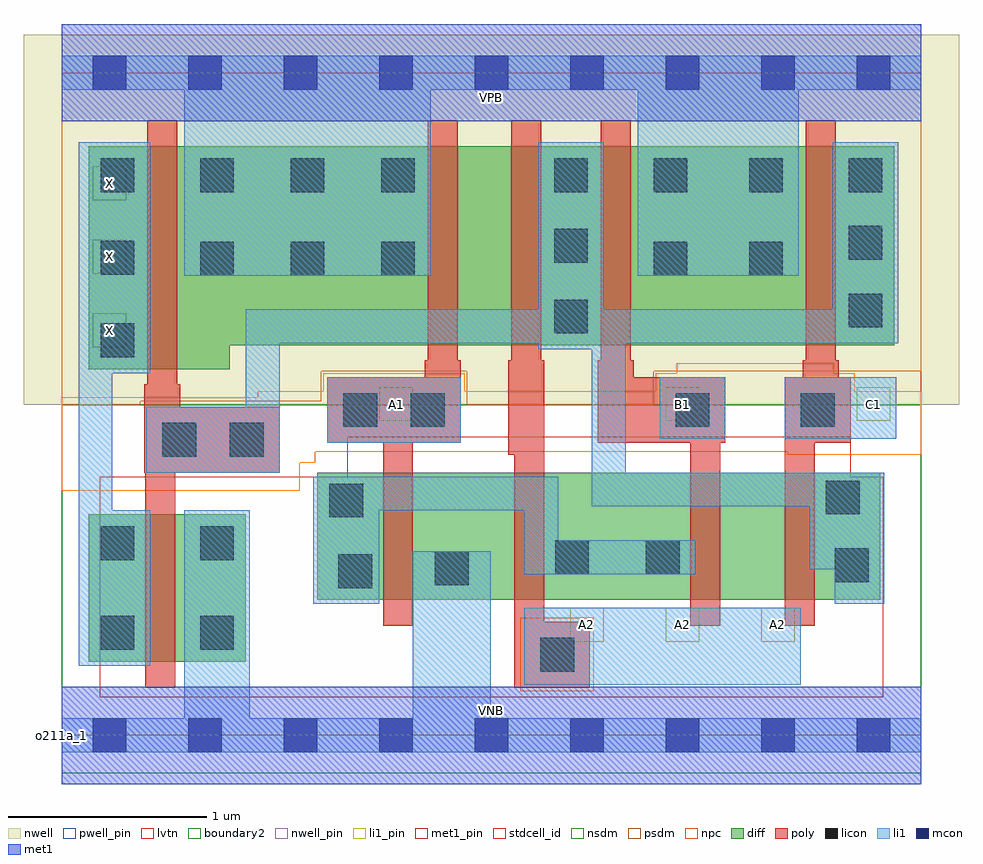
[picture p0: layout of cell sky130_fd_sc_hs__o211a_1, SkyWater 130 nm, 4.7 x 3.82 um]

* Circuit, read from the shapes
.subckt sky130_fd_sc_hs__o211a_1 A1 A2 B1 C1 VGND VNB VPB VPWR X
XM1 VGND n1 X VNB sky130_fd_pr__nfet_01v8_lvt w=0.74 l=0.15
XM2 VGND A1 n2 VNB sky130_fd_pr__nfet_01v8_lvt w=0.64 l=0.15
XM3 n2 A2 VGND VNB sky130_fd_pr__nfet_01v8_lvt w=0.64 l=0.15
XM4 n3 B1 n2 VNB sky130_fd_pr__nfet_01v8_lvt w=0.64 l=0.15
XM5 n1 C1 n3 VNB sky130_fd_pr__nfet_01v8_lvt w=0.64 l=0.15
XM6 VPWR n1 X VPB sky130_fd_pr__pfet_01v8 w=1.12 l=0.15
XM7 n4 A1 VPWR VPB sky130_fd_pr__pfet_01v8 w=1 l=0.15
XM8 n1 A2 n4 VPB sky130_fd_pr__pfet_01v8 w=1 l=0.15
XM9 VPWR B1 n1 VPB sky130_fd_pr__pfet_01v8 w=1 l=0.15
XM10 n1 C1 VPWR VPB sky130_fd_pr__pfet_01v8 w=1 l=0.15
.ends

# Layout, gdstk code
import gdstk
lib = gdstk.Library(unit=1e-6, precision=1e-09)
def R(c, l, rs):  # rectangles x0, y0, x1, y1
    for r in rs: c.add(gdstk.rectangle(r[:2], r[2:], *l))
def A(c, l, x, y, w, h, nx, ny, dx, dy):  # array of equal rectangles
    R(c, l, [(x+i*dx, y+j*dy, x+i*dx+w, y+j*dy+h) for i in range(nx) for j in range(ny)])
def P(c, l, *ps):  # polygons
    for p in ps: c.add(gdstk.Polygon(p, *l))
nwell_pin = (64, 16)
nwell = (64, 20)
diff = (65, 20)
poly = (66, 20)
licon = (66, 44)
li1_pin = (67, 16)
li1 = (67, 20)
mcon = (67, 44)
met1_pin = (68, 16)
met1 = (68, 20)
stdcell_id = (81, 4)
nsdm = (93, 44)
psdm = (94, 20)
npc = (95, 20)
pwell_pin = (122, 16)
lvtn = (125, 44)
boundary2 = (236, 0)

sky130_fd_sc_hs__o211a_1 = lib.new_cell('sky130_fd_sc_hs__o211a_1')
R(sky130_fd_sc_hs__o211a_1, nwell_pin, [(0,3.085,4.32,3.33)])
R(sky130_fd_sc_hs__o211a_1, nwell, [(-0.19,1.66,4.51,3.52)])
R(sky130_fd_sc_hs__o211a_1, diff, [(0.135,0.37,0.925,1.11), (1.285,0.68,4.115,1.32)])
P(sky130_fd_sc_hs__o211a_1, diff, [(4.185,2.96),(0.135,2.96),(0.135,1.84),(0.845,1.84),(0.845,1.96),(4.185,1.96)])
P(sky130_fd_sc_hs__o211a_1, poly, [(3.965,1.8),(3.905,1.8),(3.905,1.885),(3.89,1.885),(3.89,3.09),(3.74,3.09),(3.74,1.885),(3.725,1.885),(3.725,1.8),(3.635,1.8),(3.635,0.55),(3.785,0.55),(3.785,1.47),(3.965,1.47)],
  [(3.335,1.8),(2.875,1.8),(2.875,1.885),(2.86,1.885),(2.86,3.09),(2.71,3.09),(2.71,1.885),(2.695,1.885),(2.695,1.47),(3.16,1.47),(3.16,0.55),(3.31,0.55),(3.31,1.47),(3.335,1.47)],
  [(2.655,0.57),(2.425,0.57),(2.425,1.885),(2.41,1.885),(2.41,3.09),(2.26,3.09),(2.26,1.885),(2.245,1.885),(2.245,1.41),(2.275,1.41),(2.275,0.24),(2.655,0.24)],
  [(2.005,1.885),(1.99,1.885),(1.99,3.09),(1.84,3.09),(1.84,1.885),(1.825,1.885),(1.825,1.8),(1.335,1.8),(1.335,1.47),(1.615,1.47),(1.615,0.55),(1.765,0.55),(1.765,1.47),(2.005,1.47)],
  [(1.095,1.65),(0.595,1.65),(0.595,1.765),(0.58,1.765),(0.58,3.09),(0.43,3.09),(0.43,1.765),(0.415,1.765),(0.415,1.32),(0.42,1.32),(0.42,0.24),(0.57,0.24),(0.57,1.32),(1.095,1.32)])
A(sky130_fd_sc_hs__o211a_1, licon, 0.195, 1.9, 0.17, 0.17, 1, 3, 0, 0.415)
A(sky130_fd_sc_hs__o211a_1, licon, 2.475, 2.02, 0.17, 0.17, 1, 3, 0, 0.355)
A(sky130_fd_sc_hs__o211a_1, licon, 3.955, 2.05, 0.17, 0.17, 1, 3, 0, 0.34)
A(sky130_fd_sc_hs__o211a_1, licon, 0.695, 2.31, 0.17, 0.17, 3, 2, 0.455, 0.42)
R(sky130_fd_sc_hs__o211a_1, licon, [(2.405,0.32,2.575,0.49), (0.195,0.43,0.365,0.6), (0.695,0.43,0.865,0.6), (1.39,0.74,1.56,0.91), (1.875,0.755,2.045,0.925), (3.885,0.77,4.055,0.94), (2.48,0.81,2.65,0.98), (2.935,0.81,3.105,0.98), (0.195,0.88,0.365,1.05), (0.695,0.88,0.865,1.05), (1.345,1.095,1.515,1.265), (3.84,1.11,4.01,1.28), (0.505,1.4,0.675,1.57), (0.845,1.4,1.015,1.57), (1.415,1.55,1.585,1.72), (1.755,1.55,1.925,1.72), (3.085,1.55,3.255,1.72), (3.715,1.55,3.885,1.72), (2.975,2.31,3.145,2.48), (3.455,2.31,3.625,2.48), (2.975,2.73,3.145,2.9), (3.455,2.73,3.625,2.9)])
A(sky130_fd_sc_hs__o211a_1, li1_pin, 2.555, 0.47, 0.17, 0.17, 3, 1, 0.48, 0)
A(sky130_fd_sc_hs__o211a_1, li1_pin, 0.155, 1.95, 0.17, 0.17, 1, 3, 0, 0.37)
R(sky130_fd_sc_hs__o211a_1, li1_pin, [(1.595,1.58,1.765,1.75), (3.035,1.58,3.205,1.75), (3.995,1.58,4.165,1.75)])
R(sky130_fd_sc_hs__o211a_1, li1, [(2.325,0.255,3.715,0.64), (1.335,1.47,2.005,1.8), (3.005,1.49,3.335,1.8), (3.635,1.49,4.195,1.8)])
P(sky130_fd_sc_hs__o211a_1, li1, [(2.895,2.31),(2.895,3.245),(1.855,3.245),(1.855,2.31),(0.615,2.31),(0.615,3.245),(0,3.245),(0,3.415),(4.32,3.415),(4.32,3.245),(3.705,3.245),(3.705,2.31)],
  [(1.765,0.085),(1.765,0.925),(2.155,0.925),(2.155,0.085),(4.32,0.085),(4.32,-0.085),(0,-0.085),(0,0.085),(0.615,0.085),(0.615,1.13),(0.945,1.13),(0.945,0.085)],
  [(4.205,2.98),(3.875,2.98),(3.875,2.14),(2.725,2.14),(2.725,2.98),(2.395,2.98),(2.395,2.14),(0.925,2.14),(0.925,1.65),(0.425,1.65),(0.425,1.32),(1.095,1.32),(1.095,1.97),(2.395,1.97),(2.395,1.94),(2.665,1.94),(2.665,1.15),(3.76,1.15),(3.76,0.835),(3.885,0.835),(3.885,0.66),(4.135,0.66),(4.135,1.32),(2.835,1.32),(2.835,1.97),(4.205,1.97)],
  [(0.085,2.98),(0.445,2.98),(0.445,1.82),(0.255,1.82),(0.255,1.13),(0.445,1.13),(0.445,0.35),(0.085,0.35)],
  [(2.495,1.3),(2.495,0.98),(3.185,0.98),(3.185,0.81),(2.325,0.81),(2.325,1.13),(1.595,1.13),(1.595,0.66),(1.265,0.66),(1.265,1.3)])
A(sky130_fd_sc_hs__o211a_1, mcon, 0.155, -0.085, 0.17, 0.17, 9, 2, 0.48, 3.33)
R(sky130_fd_sc_hs__o211a_1, met1_pin, [(0,0,4.32,0.245), (0,3.085,4.32,3.33)])
R(sky130_fd_sc_hs__o211a_1, met1, [(0,-0.245,4.32,0.245), (0,3.085,4.32,3.575)])
R(sky130_fd_sc_hs__o211a_1, stdcell_id, [(0,0,4.32,3.33)])
R(sky130_fd_sc_hs__o211a_1, nsdm, [(0,-0.19,4.32,1.66)])
P(sky130_fd_sc_hs__o211a_1, psdm, [(4.32,3.52),(0,3.52),(0,1.66),(0.395,1.66),(0.395,1.68),(1.305,1.68),(1.305,1.83),(2.035,1.83),(2.035,1.66),(2.975,1.66),(2.975,1.83),(4.32,1.83)])
R(sky130_fd_sc_hs__o211a_1, npc, [(2.305,0.22,2.675,0.59)])
P(sky130_fd_sc_hs__o211a_1, npc, [(4.32,1.73),(3.985,1.73),(3.985,1.82),(3.88,1.82),(3.88,1.87),(3.09,1.87),(3.09,1.82),(2.985,1.82),(2.985,1.73),(2.025,1.73),(2.025,1.82),(1.315,1.82),(1.315,1.73),(0.985,1.73),(0.985,1.7),(0,1.7),(0,1.23),(1.195,1.23),(1.195,1.37),(1.275,1.37),(1.275,1.425),(3.65,1.425),(3.65,1.41),(4.32,1.41)])
R(sky130_fd_sc_hs__o211a_1, pwell_pin, [(0,0,4.32,0.245)])
P(sky130_fd_sc_hs__o211a_1, lvtn, [(4.13,1.3),(3.965,1.3),(3.965,1.5),(1.435,1.5),(1.435,1.3),(0.19,1.3),(0.19,0.19),(4.13,0.19)])
R(sky130_fd_sc_hs__o211a_1, boundary2, [(0,0,4.32,3.33)])
sky130_fd_sc_hs__o211a_1.add(gdstk.Label('o211a_1', (0,0), layer=83, texttype=44))
sky130_fd_sc_hs__o211a_1.add(gdstk.Label('VNB', (2.16,0.123), layer=64, texttype=59))
sky130_fd_sc_hs__o211a_1.add(gdstk.Label('VPB', (2.16,3.208), layer=64, texttype=5))
sky130_fd_sc_hs__o211a_1.add(gdstk.Label('VPWR', (2.16,3.208), layer=68, texttype=5))
sky130_fd_sc_hs__o211a_1.add(gdstk.Label('VGND', (2.16,0.123), layer=68, texttype=5))
sky130_fd_sc_hs__o211a_1.add(gdstk.Label('X', (0.24,2.035), layer=67, texttype=5))
sky130_fd_sc_hs__o211a_1.add(gdstk.Label('X', (0.24,2.405), layer=67, texttype=5))
sky130_fd_sc_hs__o211a_1.add(gdstk.Label('X', (0.24,2.775), layer=67, texttype=5))
sky130_fd_sc_hs__o211a_1.add(gdstk.Label('C1', (4.08,1.665), layer=67, texttype=5))
sky130_fd_sc_hs__o211a_1.add(gdstk.Label('B1', (3.12,1.665), layer=67, texttype=5))
sky130_fd_sc_hs__o211a_1.add(gdstk.Label('A2', (2.64,0.555), layer=67, texttype=5))
sky130_fd_sc_hs__o211a_1.add(gdstk.Label('A2', (3.12,0.555), layer=67, texttype=5))
sky130_fd_sc_hs__o211a_1.add(gdstk.Label('A2', (3.6,0.555), layer=67, texttype=5))
sky130_fd_sc_hs__o211a_1.add(gdstk.Label('A1', (1.68,1.665), layer=67, texttype=5))

lib.write_gds('sky130_fd_sc_hs__o211a_1.gds')
